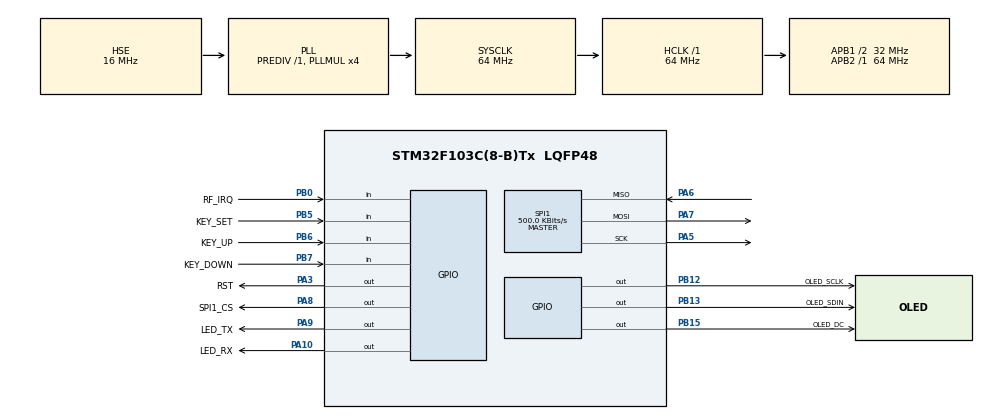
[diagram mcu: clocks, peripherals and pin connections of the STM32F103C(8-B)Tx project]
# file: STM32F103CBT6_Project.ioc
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Mcu.Family=STM32F1
Mcu.Name=STM32F103C(8-B)Tx
Mcu.Package=LQFP48
NVIC.PriorityGroup=NVIC_PRIORITYGROUP_4
NVIC.TIM2_IRQn=true\:0\:0\:false\:false\:true\:true\:true\:true
NVIC.TIM3_IRQn=true\:0\:0\:false\:false\:true\:true\:true\:true
PA10.GPIO_Label=LED_RX
PA10.Signal=GPIO_Output
PA13.Mode=Serial_Wire
PA13.Signal=SYS_JTMS-SWDIO
PA14.Mode=Serial_Wire
PA14.Signal=SYS_JTCK-SWCLK
PA3.GPIO_Label=RST
PA3.Signal=GPIO_Output
PA5.Mode=Full_Duplex_Master
PA5.Signal=SPI1_SCK
PA6.Mode=Full_Duplex_Master
PA6.Signal=SPI1_MISO
PA7.Mode=Full_Duplex_Master
PA7.Signal=SPI1_MOSI
PA8.GPIO_Label=SPI1_CS
PA8.PinState=GPIO_PIN_SET
PA8.Signal=GPIO_Output
PA9.GPIO_Label=LED_TX
PA9.Signal=GPIO_Output
PB0.GPIO_Label=RF_IRQ
PB0.Signal=GPIO_Input
PB12.GPIO_Label=OLED_SCLK
PB12.Signal=GPIO_Output
PB13.GPIO_Label=OLED_SDIN
PB13.Signal=GPIO_Output
PB15.GPIO_Label=OLED_DC
PB15.Signal=GPIO_Output
PB5.GPIO_Label=KEY_SET
PB5.Signal=GPIO_Input
PB6.GPIO_Label=KEY_UP
PB6.Signal=GPIO_Input
PB7.GPIO_Label=KEY_DOWN
PB7.Signal=GPIO_Input
PD0-OSC_IN.Mode=HSE-External-Oscillator
PD0-OSC_IN.Signal=RCC_OSC_IN
PD1-OSC_OUT.Mode=HSE-External-Oscillator
PD1-OSC_OUT.Signal=RCC_OSC_OUT
ProjectManager.HeapSize=0x200
ProjectManager.StackSize=0x400
ProjectManager.TargetToolchain=MDK-ARM V5.32
RCC.AHBFreq_Value=64000000
RCC.APB1CLKDivider=RCC_HCLK_DIV2
RCC.APB1Freq_Value=32000000
RCC.APB1TimFreq_Value=64000000
RCC.APB2Freq_Value=64000000
RCC.APB2TimFreq_Value=64000000
RCC.HCLKFreq_Value=64000000
RCC.HSE_VALUE=16000000
RCC.PLLMUL=RCC_PLL_MUL4
RCC.PLLSourceVirtual=RCC_PLLSOURCE_HSE
RCC.SYSCLKFreq_VALUE=64000000
RCC.SYSCLKSource=RCC_SYSCLKSOURCE_PLLCLK
RCC.USBFreq_Value=64000000
SPI1.BaudRatePrescaler=SPI_BAUDRATEPRESCALER_128
SPI1.CalculateBaudRate=500.0 KBits/s
SPI1.Direction=SPI_DIRECTION_2LINES
SPI1.Mode=SPI_MODE_MASTER
SPI1.VirtualType=VM_MASTER
TIM2.Period=1000-1
TIM2.Prescaler=64-1
TIM3.Period=10-1
TIM3.Prescaler=64-1
VP_TIM2_VS_ClockSourceINT.Mode=Internal
VP_TIM3_VS_ClockSourceINT.Mode=Internal
board=custom

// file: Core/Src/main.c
/* USER CODE BEGIN Header */
/**
  ******************************************************************************
  * @file           : main.c
  * @brief          : Main program body
  ******************************************************************************
  * @attention
  *
  * Copyright (c) 2024 STMicroelectronics.
  * All rights reserved.
  *
  * This software is licensed under terms that can be found in the LICENSE file
  * in the root directory of this software component.
  * If no LICENSE file comes with this software, it is provided AS-IS.
  *
  ******************************************************************************
  */
/* USER CODE END Header */
#include "main.h"
#include "spi.h"
#include "tim.h"
#include "gpio.h"

/* USER CODE BEGIN Includes */
#include "pan_rf.h"
#include <stdio.h>
#include <string.h>
/* USER CODE END Includes */

/* USER CODE BEGIN PV */
uint8_t irq;
FlagType Flag;
/* USER CODE END PV */

void SystemClock_Config(void);

int main(void)
{

  /* MCU Configuration--------------------------------------------------------*/

  /* Reset of all peripherals, Initializes the Flash interface and the Systick. */
  HAL_Init();

  /* Configure the system clock */
  SystemClock_Config();

  /* Initialize all configured peripherals */
  MX_GPIO_Init();
  MX_TIM2_Init();
  MX_SPI1_Init();
  MX_TIM3_Init();
  /* USER CODE BEGIN 2 */

	LED_TX_OFF();
	LED_RX_OFF();

	RST_SET();

	rf_init();
//	rf_set_dcdc_mode(DCDC_ON);
	rf_set_default_para();
	rf_enter_continous_rx();

  /* USER CODE END 2 */

  /* Infinite loop */
  /* USER CODE BEGIN WHILE */
  while (1)
  {

    if(CHECK_IRQ())
    {
        uint8_t irq = rf_get_irq();
        if(irq & REG_IRQ_RX_DONE)
        {
						LED_RX_TOG();// Toggle RX LED
						RxDoneParams.Snr = rf_get_snr();
						RxDoneParams.Rssi = rf_get_rssi();
						RxDoneParams.Size = rf_recv_packet(RxDoneParams.Payload);
						irq &= ~REG_IRQ_RX_DONE;
						rf_clr_irq(REG_IRQ_RX_DONE);
						rf_set_recv_flag(RADIO_FLAG_RXDONE);
        }
        if(irq & REG_IRQ_CRC_ERR)
        {
            rf_read_fifo(REG_FIFO_ACC_ADDR, RxDoneParams.TestModePayload, 10);
						irq &= ~REG_IRQ_CRC_ERR;
						rf_clr_irq(REG_IRQ_CRC_ERR);
            rf_set_recv_flag(RADIO_FLAG_RXERR);
        }
        if(irq & REG_IRQ_RX_TIMEOUT)
        {
            rf_refresh();
						irq &= ~REG_IRQ_RX_TIMEOUT;
						rf_clr_irq(REG_IRQ_RX_TIMEOUT);
            rf_set_recv_flag(RADIO_FLAG_RXTIMEOUT);
        }
    }

  }
    /* USER CODE END WHILE */

}

void SystemClock_Config(void)
{
  RCC_OscInitTypeDef RCC_OscInitStruct = {0};
  RCC_ClkInitTypeDef RCC_ClkInitStruct = {0};

  /** Initializes the RCC Oscillators according to the specified parameters
  * in the RCC_OscInitTypeDef structure.
  */
  RCC_OscInitStruct.OscillatorType = RCC_OSCILLATORTYPE_HSE;
  RCC_OscInitStruct.HSEState = RCC_HSE_ON;
  RCC_OscInitStruct.HSEPredivValue = RCC_HSE_PREDIV_DIV1;
  RCC_OscInitStruct.HSIState = RCC_HSI_ON;
  RCC_OscInitStruct.PLL.PLLState = RCC_PLL_ON;
  RCC_OscInitStruct.PLL.PLLSource = RCC_PLLSOURCE_HSE;
  RCC_OscInitStruct.PLL.PLLMUL = RCC_PLL_MUL4;
  if (HAL_RCC_OscConfig(&RCC_OscInitStruct) != HAL_OK)
  {
    Error_Handler();
  }

  /** Initializes the CPU, AHB and APB buses clocks
  */
  RCC_ClkInitStruct.ClockType = RCC_CLOCKTYPE_HCLK|RCC_CLOCKTYPE_SYSCLK
                              |RCC_CLOCKTYPE_PCLK1|RCC_CLOCKTYPE_PCLK2;
  RCC_ClkInitStruct.SYSCLKSource = RCC_SYSCLKSOURCE_PLLCLK;
  RCC_ClkInitStruct.AHBCLKDivider = RCC_SYSCLK_DIV1;
  RCC_ClkInitStruct.APB1CLKDivider = RCC_HCLK_DIV2;
  RCC_ClkInitStruct.APB2CLKDivider = RCC_HCLK_DIV1;

  if (HAL_RCC_ClockConfig(&RCC_ClkInitStruct, FLASH_LATENCY_2) != HAL_OK)
  {
    Error_Handler();
  }
}

void Error_Handler(void)
{
  __disable_irq();
  while (1)
  {
  }
}
